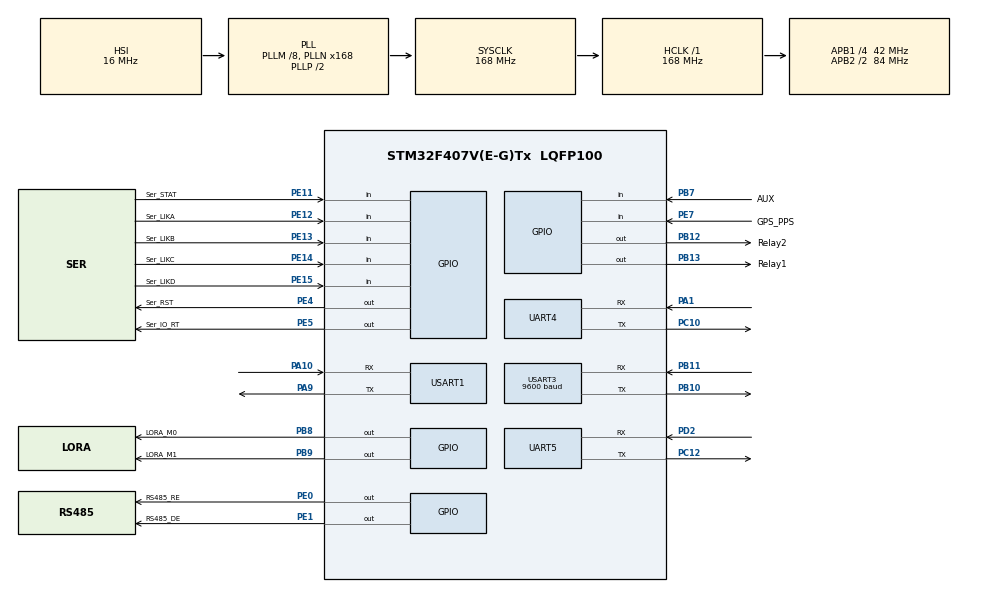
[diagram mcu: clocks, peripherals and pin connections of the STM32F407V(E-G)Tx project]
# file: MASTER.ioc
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Mcu.Family=STM32F4
Mcu.Name=STM32F407V(E-G)Tx
Mcu.Package=LQFP100
NVIC.PriorityGroup=NVIC_PRIORITYGROUP_4
NVIC.TIM8_UP_TIM13_IRQn=true\:3\:0\:true\:false\:true\:true\:true
NVIC.UART5_IRQn=true\:4\:0\:true\:false\:true\:true\:true
NVIC.USART1_IRQn=true\:0\:0\:false\:false\:true\:true\:true
NVIC.USART3_IRQn=true\:2\:0\:true\:false\:true\:true\:true
PA0-WKUP.Mode=SYS_WakeUp0
PA0-WKUP.Signal=SYS_WKUP
PA1.Mode=Asynchronous
PA1.Signal=UART4_RX
PA10.Mode=Asynchronous
PA10.Signal=USART1_RX
PA13.Mode=Serial_Wire
PA13.Signal=SYS_JTMS-SWDIO
PA14.Mode=Serial_Wire
PA14.Signal=SYS_JTCK-SWCLK
PA9.Mode=Asynchronous
PA9.Signal=USART1_TX
PB10.Mode=Asynchronous
PB10.Signal=USART3_TX
PB11.Mode=Asynchronous
PB11.Signal=USART3_RX
PB12.GPIO_Label=Relay2
PB12.Signal=GPIO_Output
PB13.GPIO_Label=Relay1
PB13.Signal=GPIO_Output
PB7.GPIO_Label=AUX
PB7.Signal=GPIO_Input
PB8.GPIO_Label=LORA_M0
PB8.Signal=GPIO_Output
PB9.GPIO_Label=LORA_M1
PB9.Signal=GPIO_Output
PC10.Mode=Asynchronous
PC10.Signal=UART4_TX
PC12.Mode=Asynchronous
PC12.Signal=UART5_TX
PD2.Mode=Asynchronous
PD2.Signal=UART5_RX
PE0.GPIO_Label=RS485_RE
PE0.Signal=GPIO_Output
PE1.GPIO_Label=RS485_DE
PE1.Signal=GPIO_Output
PE11.GPIO_Label=Ser_STAT
PE11.Signal=GPIO_Input
PE12.GPIO_Label=Ser_LIKA
PE12.Signal=GPIO_Input
PE13.GPIO_Label=Ser_LIKB
PE13.Signal=GPIO_Input
PE14.GPIO_Label=Ser_LIKC
PE14.Signal=GPIO_Input
PE15.GPIO_Label=Ser_LIKD
PE15.Signal=GPIO_Input
PE4.GPIO_Label=Ser_RST
PE4.Signal=GPIO_Output
PE5.GPIO_Label=Ser_IO_RT
PE5.Signal=GPIO_Output
PE7.GPIO_Label=GPS_PPS
PE7.Signal=GPIO_Input
PH0-OSC_IN.Mode=HSE-External-Oscillator
PH0-OSC_IN.Signal=RCC_OSC_IN
PH1-OSC_OUT.Mode=HSE-External-Oscillator
PH1-OSC_OUT.Signal=RCC_OSC_OUT
ProjectManager.HeapSize=0x200
ProjectManager.StackSize=0x400
ProjectManager.TargetToolchain=MDK-ARM V5
RCC.48MHZClocksFreq_Value=84000000
RCC.AHBFreq_Value=168000000
RCC.APB1CLKDivider=RCC_HCLK_DIV4
RCC.APB1Freq_Value=42000000
RCC.APB1TimFreq_Value=84000000
RCC.APB2CLKDivider=RCC_HCLK_DIV2
RCC.APB2Freq_Value=84000000
RCC.APB2TimFreq_Value=168000000
RCC.CortexFreq_Value=168000000
RCC.HCLKFreq_Value=168000000
RCC.HSE_VALUE=8000000
RCC.HSI_VALUE=16000000
RCC.LSE_VALUE=32768
RCC.PLLM=8
RCC.PLLN=168
RCC.SYSCLKFreq_VALUE=168000000
RCC.SYSCLKSource=RCC_SYSCLKSOURCE_PLLCLK
RCC.VCOOutputFreq_Value=336000000
TIM13.Period=1000-1
TIM13.Prescaler=83
TIM14.Period=1
TIM14.Prescaler=83
UART4.VirtualMode=Asynchronous
UART5.VirtualMode=Asynchronous
USART1.VirtualMode=VM_ASYNC
USART3.BaudRate=9600
USART3.VirtualMode=VM_ASYNC
VP_TIM13_VS_ClockSourceINT.Mode=Enable_Timer
VP_TIM14_VS_ClockSourceINT.Mode=Enable_Timer
board=custom

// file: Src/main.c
/* USER CODE BEGIN Header */
/**
  ******************************************************************************
  * @file           : main.c
  * @brief          : Main program body
  ******************************************************************************
  * @attention
  *
  * <h2><center>&copy; Copyright (c) 2019 STMicroelectronics.
  * All rights reserved.</center></h2>
  *
  * This software component is licensed by ST under BSD 3-Clause license,
  * the "License"; You may not use this file except in compliance with the
  * License. You may obtain a copy of the License at:
  *                        opensource.org/licenses/BSD-3-Clause
  *
  ******************************************************************************
  */
/* USER CODE END Header */

#include "main.h"
#include "tim.h"
#include "usart.h"
#include "gpio.h"

/* USER CODE BEGIN Includes */
#include "callback.h" //回调
#include "task.h" //任务调度
#include "relay.h" //继电器
#include "server.h" //服务器/4G模块/串口1
#include "GPS.h" //GPS模块/串口3
#include "master.h" //主机启动相关
#include "shelf.h" //机器状态读取//串口5//RS485
#include "delay.h"//延时
#include "flash.h" //内部flash
/* USER CODE END Includes */

void SystemClock_Config(void);

int main(void)
{

  /* MCU Configuration--------------------------------------------------------*/

  /* Reset of all peripherals, Initializes the Flash interface and the Systick. */
  HAL_Init();

  /* Configure the system clock */
  SystemClock_Config();

  /* Initialize all configured peripherals */
  MX_GPIO_Init(); //GPIO初始化
  MX_TIM13_Init(); //TIM13初始化
  MX_TIM14_Init(); //TIM14初始化
  MX_UART4_Init(); //串口4初始化
  MX_USART1_UART_Init(); //串口1初始化
  MX_USART3_UART_Init(); //串口3初始化
  MX_UART5_Init(); //串口5初始化
  /* USER CODE BEGIN 2 */
//	printf("come");
	Relay_Init();//继电器初始化
	GPS_Init(); //GPS模块初始化
  RS485_Init();//RS485初始化
	Server_Init();//4G模块初始化
	Master_Init(); //完成开机任务
	Task_Init(); //任务调度初始化
  /* USER CODE END 2 */

  /* Infinite loop */
  /* USER CODE BEGIN WHILE */
  while (1)
  {
	Task_Handle(); //任务调度
    /* USER CODE END WHILE */

  }
}

void SystemClock_Config(void)
{
  RCC_OscInitTypeDef RCC_OscInitStruct = {0};
  RCC_ClkInitTypeDef RCC_ClkInitStruct = {0};

  /** Configure the main internal regulator output voltage
  */
  __HAL_RCC_PWR_CLK_ENABLE();
  __HAL_PWR_VOLTAGESCALING_CONFIG(PWR_REGULATOR_VOLTAGE_SCALE1);
  /** Initializes the CPU, AHB and APB busses clocks
  */
  RCC_OscInitStruct.OscillatorType = RCC_OSCILLATORTYPE_HSI;
  RCC_OscInitStruct.HSIState = RCC_HSI_ON;
  RCC_OscInitStruct.HSICalibrationValue = RCC_HSICALIBRATION_DEFAULT;
  RCC_OscInitStruct.PLL.PLLState = RCC_PLL_ON;
  RCC_OscInitStruct.PLL.PLLSource = RCC_PLLSOURCE_HSI;
  RCC_OscInitStruct.PLL.PLLM = 8;
  RCC_OscInitStruct.PLL.PLLN = 168;
  RCC_OscInitStruct.PLL.PLLP = RCC_PLLP_DIV2;
  RCC_OscInitStruct.PLL.PLLQ = 4;
  if (HAL_RCC_OscConfig(&RCC_OscInitStruct) != HAL_OK)
  {
    Error_Handler();
  }
  /** Initializes the CPU, AHB and APB busses clocks
  */
  RCC_ClkInitStruct.ClockType = RCC_CLOCKTYPE_HCLK|RCC_CLOCKTYPE_SYSCLK
                              |RCC_CLOCKTYPE_PCLK1|RCC_CLOCKTYPE_PCLK2;
  RCC_ClkInitStruct.SYSCLKSource = RCC_SYSCLKSOURCE_PLLCLK;
  RCC_ClkInitStruct.AHBCLKDivider = RCC_SYSCLK_DIV1;
  RCC_ClkInitStruct.APB1CLKDivider = RCC_HCLK_DIV4;
  RCC_ClkInitStruct.APB2CLKDivider = RCC_HCLK_DIV2;

  if (HAL_RCC_ClockConfig(&RCC_ClkInitStruct, FLASH_LATENCY_5) != HAL_OK)
  {
    Error_Handler();
  }
}

void Error_Handler(void)
{
}

/************************ (C) COPYRIGHT STMicroelectronics *****END OF FILE****/
